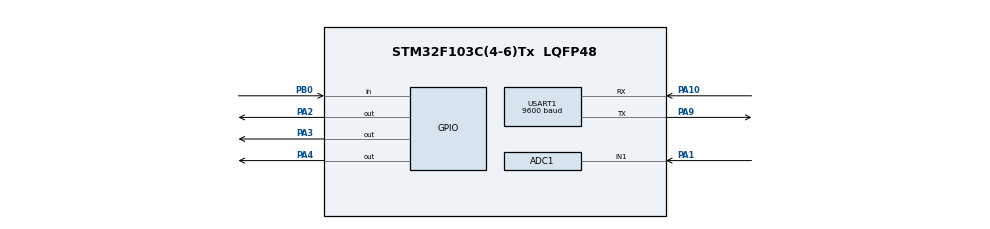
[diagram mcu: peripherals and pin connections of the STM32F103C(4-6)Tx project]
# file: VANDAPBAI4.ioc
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ADC1.Channel-1\#ChannelRegularConversion=ADC_CHANNEL_1
ADC1.ContinuousConvMode=ENABLE
ADC1.NbrOfConversionFlag=1
ADC1.Rank-1\#ChannelRegularConversion=1
ADC1.SamplingTime-1\#ChannelRegularConversion=ADC_SAMPLETIME_55CYCLES_5
ADC1.master=1
Mcu.Family=STM32F1
Mcu.Name=STM32F103C(4-6)Tx
Mcu.Package=LQFP48
NVIC.PriorityGroup=NVIC_PRIORITYGROUP_4
PA10.Mode=Asynchronous
PA10.Signal=USART1_RX
PA1.Signal=ADCx_IN1
PA2.PinState=GPIO_PIN_RESET
PA2.Signal=GPIO_Output
PA3.PinState=GPIO_PIN_RESET
PA3.Signal=GPIO_Output
PA4.PinState=GPIO_PIN_RESET
PA4.Signal=GPIO_Output
PB0.GPIO_PuPd=GPIO_PULLUP
PB0.Signal=GPIO_Input
PA9.Mode=Asynchronous
PA9.Signal=USART1_TX
ProjectManager.HeapSize=0x200
ProjectManager.StackSize=0x400
ProjectManager.TargetToolchain=STM32CubeIDE
RCC.APB1Freq_Value=8000000
RCC.APB2Freq_Value=8000000
SH.ADCx_IN1.0=ADC1_IN1,IN1
USART1.BaudRate=9600
USART1.VirtualMode=VM_ASYNC
VP_SYS_VS_ND.Mode=No_Debug
board=custom

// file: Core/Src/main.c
/* USER CODE BEGIN Header */
/**
  ******************************************************************************
  * @file           : main.c
  * @brief          : LDR - 3 LED - Button - UART
  ******************************************************************************
  */
/* USER CODE END Header */

#include "main.h"

ADC_HandleTypeDef hadc1;
UART_HandleTypeDef huart1;

/* USER CODE BEGIN PV */
uint32_t adc_value = 0;
uint8_t mode = 0;
uint8_t uart_rx = 0;
/* USER CODE END PV */

void SystemClock_Config(void);
static void MX_GPIO_Init(void);
static void MX_ADC1_Init(void);
static void MX_USART1_UART_Init(void);

/* USER CODE BEGIN PFP */
void UART_SendString(char *str);
void UART_SendNumber(uint32_t num);

void LED_AllOff(void);
void LED_AllOn(void);

void LED_GreenOn(void);
void LED_YellowOn(void);
void LED_RedOn(void);
/* USER CODE END PFP */

/* USER CODE BEGIN 0 */

void UART_SendString(char *str)
{
    while (*str)
    {
        HAL_UART_Transmit(&huart1, (uint8_t *)str, 1, 100);
        str++;
    }
}

void UART_SendNumber(uint32_t num)
{
    char buf[12];
    uint8_t i = 0;

    if (num == 0)
    {
        UART_SendString("0");
        return;
    }

    while (num > 0)
    {
        buf[i++] = (num % 10) + '0';
        num /= 10;
    }

    while (i > 0)
    {
        i--;

        HAL_UART_Transmit(
            &huart1,
            (uint8_t *)&buf[i],
            1,
            100
        );
    }
}

/* =========================================================
   LED ACTIVE-HIGH (anode noi GPIO, cathode noi GND)
   SET   = SANG
   RESET = TAT
   ========================================================= */

void LED_AllOff(void)
{
    HAL_GPIO_WritePin(GPIOA, GPIO_PIN_2, GPIO_PIN_RESET);
    HAL_GPIO_WritePin(GPIOA, GPIO_PIN_3, GPIO_PIN_RESET);
    HAL_GPIO_WritePin(GPIOA, GPIO_PIN_4, GPIO_PIN_RESET);
}

void LED_AllOn(void)
{
    HAL_GPIO_WritePin(GPIOA, GPIO_PIN_2, GPIO_PIN_SET);
    HAL_GPIO_WritePin(GPIOA, GPIO_PIN_3, GPIO_PIN_SET);
    HAL_GPIO_WritePin(GPIOA, GPIO_PIN_4, GPIO_PIN_SET);
}

void LED_GreenOn(void)
{
    HAL_GPIO_WritePin(GPIOA, GPIO_PIN_2, GPIO_PIN_RESET);
    HAL_GPIO_WritePin(GPIOA, GPIO_PIN_3, GPIO_PIN_RESET);
    HAL_GPIO_WritePin(GPIOA, GPIO_PIN_4, GPIO_PIN_SET);
}

void LED_YellowOn(void)
{
    HAL_GPIO_WritePin(GPIOA, GPIO_PIN_2, GPIO_PIN_RESET);
    HAL_GPIO_WritePin(GPIOA, GPIO_PIN_3, GPIO_PIN_SET);
    HAL_GPIO_WritePin(GPIOA, GPIO_PIN_4, GPIO_PIN_RESET);
}

void LED_RedOn(void)
{
    HAL_GPIO_WritePin(GPIOA, GPIO_PIN_2, GPIO_PIN_SET);
    HAL_GPIO_WritePin(GPIOA, GPIO_PIN_3, GPIO_PIN_RESET);
    HAL_GPIO_WritePin(GPIOA, GPIO_PIN_4, GPIO_PIN_RESET);
}

/* USER CODE END 0 */

int main(void)
{
    HAL_Init();

    SystemClock_Config();

    MX_GPIO_Init();
    MX_ADC1_Init();
    MX_USART1_UART_Init();

    /* USER CODE BEGIN 2 */

    /* Proteus STM32 model may not complete the F1 ADC calibration cycle,
     * which blocks execution before the first UART message. The simulated
     * ADC works without this hardware-only calibration step. */
    /* HAL_ADCEx_Calibration_Start(&hadc1); */

    HAL_ADC_Start(&hadc1);

    /* Luc khoi dong: tat het LED */
    LED_AllOff();

    UART_SendString("\r\n");
    UART_SendString("====================================\r\n");
    UART_SendString("      LDR LED CONTROL SYSTEM\r\n");
    UART_SendString("====================================\r\n");
    UART_SendString("MODE 0 = OFF\r\n");
    UART_SendString("MODE 1 = AUTO\r\n");
    UART_SendString("MODE 2 = ON\r\n");
    UART_SendString("TYPE 0, 1 OR 2 TO SELECT MODE\r\n");
    UART_SendString("====================================\r\n");

    /* USER CODE END 2 */

    uint32_t last_uart_time = 0;
    uint8_t send_uart = 0;

    while (1)
    {
        /* =====================================================
         * 1. DOC ADC TU LDR
         * ===================================================== */

        if (HAL_ADC_PollForConversion(&hadc1, 100) == HAL_OK)
        {
            adc_value = HAL_ADC_GetValue(&hadc1);
        }

        /* Chon truc tiep MODE 0, 1 hoac 2 tu Virtual Terminal. */
        if (HAL_UART_Receive(&huart1, &uart_rx, 1, 0) == HAL_OK)
        {
            if ((uart_rx >= '0') && (uart_rx <= '2'))
            {
                mode = uart_rx - '0';

                UART_SendString("\r\n>>> UART SELECT MODE: ");
                UART_SendNumber(mode);
                UART_SendString(" <<<\r\n");
            }
        }

        /* =====================================================
         * 2. DOC NUT NHAN PB0
         *
         * PB0 co pull-up:
         * Khong nhan = HIGH
         * Nhan       = LOW
         * ===================================================== */

        if (HAL_GPIO_ReadPin(GPIOB, GPIO_PIN_0) == GPIO_PIN_RESET)
        {
            HAL_Delay(20);

            if (HAL_GPIO_ReadPin(GPIOB, GPIO_PIN_0) == GPIO_PIN_RESET)
            {
                mode++;

                if (mode > 2)
                {
                    mode = 0;
                }

                UART_SendString("\r\n>>> CHANGE MODE: ");

                UART_SendNumber(mode);

                UART_SendString(" <<<\r\n");

                /* Cho den khi tha nut */
                while (HAL_GPIO_ReadPin(GPIOB, GPIO_PIN_0)
                        == GPIO_PIN_RESET)
                {
                    HAL_Delay(10);
                }
            }
        }

        /* Quet nut moi 10 ms, nhung chi gui bao cao UART moi 300 ms. */
        send_uart = 0;
        if ((HAL_GetTick() - last_uart_time) >= 300)
        {
            last_uart_time = HAL_GetTick();
            send_uart = 1;
        }

        /* =====================================================
         * MODE 0 - OFF
         * LED LUON TAT
         * ===================================================== */

        if (mode == 0)
        {
            LED_AllOff();

            if (send_uart)
            {
                UART_SendString("ADC=");
                UART_SendNumber(adc_value);

                UART_SendString(
                    " | MODE=0 OFF"
                    " | LED=ALL OFF\r\n"
                );
            }
        }

        /* =====================================================
         * MODE 1 - AUTO
         * ===================================================== */

        else if (mode == 1)
        {
            /*
             * Mach:
             *
             * 3.3V
             *  |
             * 10K
             *  |
             *  +------ PA1 (ADC1_IN1)
             *  |
             * LDR
             *  |
             * GND
             *
             * Sang manh -> ADC thap
             * Toi       -> ADC cao
             */

            /* ----------------------------------------
             * BRIGHT
             * ADC < 1400
             * LED XANH SANG
             * ---------------------------------------- */

            if (adc_value < 1400)
            {
                LED_GreenOn();

                if (send_uart)
                {
                    UART_SendString("ADC=");
                    UART_SendNumber(adc_value);

                    UART_SendString(
                        " | MODE=1 AUTO"
                        " | LIGHT=BRIGHT"
                        " | GREEN ON\r\n"
                    );
                }
            }

            /* ----------------------------------------
             * NORMAL
             * 1400 <= ADC < 2800
             * LED VANG SANG
             * ---------------------------------------- */

            else if (adc_value < 2800)
            {
                LED_YellowOn();

                if (send_uart)
                {
                    UART_SendString("ADC=");
                    UART_SendNumber(adc_value);

                    UART_SendString(
                        " | MODE=1 AUTO"
                        " | LIGHT=NORMAL"
                        " | YELLOW ON\r\n"
                    );
                }
            }

            /* ----------------------------------------
             * DARK
             * ADC >= 2800
             * LED DO SANG
             * ---------------------------------------- */

            else
            {
                LED_RedOn();

                if (send_uart)
                {
                    UART_SendString("ADC=");
                    UART_SendNumber(adc_value);

                    UART_SendString(
                        " | MODE=1 AUTO"
                        " | LIGHT=DARK"
                        " | RED ON\r\n"
                    );
                }
            }
        }

        /* =====================================================
         * MODE 2 - ON
         * CA 3 LED LUON SANG
         * ===================================================== */

        else
        {
            LED_AllOn();

            if (send_uart)
            {
                UART_SendString("ADC=");
                UART_SendNumber(adc_value);

                UART_SendString(
                    " | MODE=2 ON"
                    " | LED=ALL ON\r\n"
                );
            }
        }

        HAL_Delay(10);
    }
}

void SystemClock_Config(void)
{
    RCC_OscInitTypeDef RCC_OscInitStruct = {0};
    RCC_ClkInitTypeDef RCC_ClkInitStruct = {0};
    RCC_PeriphCLKInitTypeDef PeriphClkInit = {0};

    RCC_OscInitStruct.OscillatorType =
        RCC_OSCILLATORTYPE_HSI;

    RCC_OscInitStruct.HSIState =
        RCC_HSI_ON;

    RCC_OscInitStruct.HSICalibrationValue =
        RCC_HSICALIBRATION_DEFAULT;

    RCC_OscInitStruct.PLL.PLLState =
        RCC_PLL_NONE;

    if (HAL_RCC_OscConfig(&RCC_OscInitStruct) != HAL_OK)
    {
        Error_Handler();
    }

    RCC_ClkInitStruct.ClockType =
        RCC_CLOCKTYPE_HCLK |
        RCC_CLOCKTYPE_SYSCLK |
        RCC_CLOCKTYPE_PCLK1 |
        RCC_CLOCKTYPE_PCLK2;

    RCC_ClkInitStruct.SYSCLKSource =
        RCC_SYSCLKSOURCE_HSI;

    RCC_ClkInitStruct.AHBCLKDivider =
        RCC_SYSCLK_DIV1;

    RCC_ClkInitStruct.APB1CLKDivider =
        RCC_HCLK_DIV1;

    RCC_ClkInitStruct.APB2CLKDivider =
        RCC_HCLK_DIV1;

    if (HAL_RCC_ClockConfig(
            &RCC_ClkInitStruct,
            FLASH_LATENCY_0) != HAL_OK)
    {
        Error_Handler();
    }

    PeriphClkInit.PeriphClockSelection =
        RCC_PERIPHCLK_ADC;

    PeriphClkInit.AdcClockSelection =
        RCC_ADCPCLK2_DIV2;

    if (HAL_RCCEx_PeriphCLKConfig(
            &PeriphClkInit) != HAL_OK)
    {
        Error_Handler();
    }
}

static void MX_ADC1_Init(void)
{
    ADC_ChannelConfTypeDef sConfig = {0};

    hadc1.Instance = ADC1;

    hadc1.Init.ScanConvMode =
        ADC_SCAN_DISABLE;

    hadc1.Init.ContinuousConvMode =
        ENABLE;

    hadc1.Init.DiscontinuousConvMode =
        DISABLE;

    hadc1.Init.ExternalTrigConv =
        ADC_SOFTWARE_START;

    hadc1.Init.DataAlign =
        ADC_DATAALIGN_RIGHT;

    hadc1.Init.NbrOfConversion =
        1;

    if (HAL_ADC_Init(&hadc1) != HAL_OK)
    {
        Error_Handler();
    }

    sConfig.Channel =
        ADC_CHANNEL_1;

    sConfig.Rank =
        ADC_REGULAR_RANK_1;

    sConfig.SamplingTime =
        ADC_SAMPLETIME_55CYCLES_5;

    if (HAL_ADC_ConfigChannel(
            &hadc1,
            &sConfig) != HAL_OK)
    {
        Error_Handler();
    }
}

static void MX_USART1_UART_Init(void)
{
    huart1.Instance = USART1;

    huart1.Init.BaudRate =
        9600;

    huart1.Init.WordLength =
        UART_WORDLENGTH_8B;

    huart1.Init.StopBits =
        UART_STOPBITS_1;

    huart1.Init.Parity =
        UART_PARITY_NONE;

    huart1.Init.Mode =
        UART_MODE_TX_RX;

    huart1.Init.HwFlowCtl =
        UART_HWCONTROL_NONE;

    huart1.Init.OverSampling =
        UART_OVERSAMPLING_16;

    if (HAL_UART_Init(&huart1) != HAL_OK)
    {
        Error_Handler();
    }
}

static void MX_GPIO_Init(void)
{
    GPIO_InitTypeDef GPIO_InitStruct = {0};

    __HAL_RCC_GPIOA_CLK_ENABLE();
    __HAL_RCC_GPIOB_CLK_ENABLE();

    /* =====================================================
     * MAC DINH TAT 3 LED
     *
     * Active-high:
     * RESET = TAT
     * ===================================================== */

    HAL_GPIO_WritePin(
        GPIOA,
        GPIO_PIN_2 |
        GPIO_PIN_3 |
        GPIO_PIN_4,
        GPIO_PIN_RESET
    );

    /* =====================================================
     * PB0 - BUTTON
     * ===================================================== */

    GPIO_InitStruct.Pin =
        GPIO_PIN_0;

    GPIO_InitStruct.Mode =
        GPIO_MODE_INPUT;

    GPIO_InitStruct.Pull =
        GPIO_PULLUP;

    HAL_GPIO_Init(
        GPIOB,
        &GPIO_InitStruct
    );

    /* =====================================================
     * PA2 PA3 PA4 - RED YELLOW GREEN LED OUTPUT
     * ===================================================== */

    GPIO_InitStruct.Pin =
        GPIO_PIN_2 |
        GPIO_PIN_3 |
        GPIO_PIN_4;

    GPIO_InitStruct.Mode =
        GPIO_MODE_OUTPUT_PP;

    GPIO_InitStruct.Pull =
        GPIO_NOPULL;

    GPIO_InitStruct.Speed =
        GPIO_SPEED_FREQ_LOW;

    HAL_GPIO_Init(
        GPIOA,
        &GPIO_InitStruct
    );
}

/**
  * @brief Error Handler
  */
void Error_Handler(void)
{
    __disable_irq();

    while (1)
    {
    }
}
